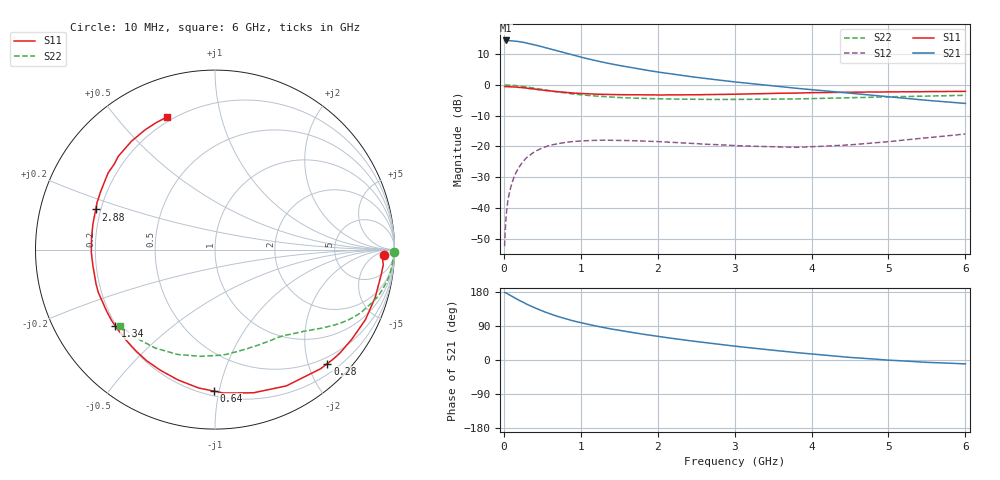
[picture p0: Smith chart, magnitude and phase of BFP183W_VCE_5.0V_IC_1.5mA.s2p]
! Infineon Technologies  Discrete & RF Semiconductors
! BFP183W
! VCE = 5.0 V,  IC =  1.5 mA
! Common Emitter S-Parameters:  Jan 2016
# GHz  S  MA  R  50
!  f  S11  S21  S12  S22
! GHz  MAG  ANG  MAG  ANG  MAG  ANG  MAG  ANG
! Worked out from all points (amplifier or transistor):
!   210 points, 10 MHz to 6 GHz, reference 50 ohm
!   highest |S21| = 14.4 dB at 30 MHz (marker M1)
!   |S21| within 3 dB of that: start of sweep to 641.9 MHz
!   unconditionally stable (mu >= 1): 2.538 GHz to end of sweep
!   at 185 MHz: K = 0.08, MSG = 20.7 dB, |S12| = -27.3 dB
!   at 1.52 GHz: K = 0.59, MSG = 12.1 dB, |S12| = -18.0 dB
!   at 6 GHz: K = 1.05, MAG = 3.6 dB, |S12| = -16.0 dB
!   S11 on the Smith chart (normalised r, x): 10 MHz: 26, -13; 280 MHz: 0.38, -2.34; 640 MHz: 0.23, -0.96; 1.34 GHz: 0.20, -0.33; 2.88 GHz: 0.18, +0.16; 6 GHz: 0.18, +0.69
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0.01  0.9403 -1.7  5.238 178.1  0.0024 88.2  0.9986 -0.7
0.02  0.9353 -3.2  5.258 177.9  0.0048 84.9  0.996 -1.4
0.03  0.9413 -5.2  5.274 176.8  0.0074 88.3  0.9953 -2.0
0.055  0.9354 -9.2  5.253 173.8  0.0137 85.2  0.9925 -3.6
0.115  0.9273 -19.1  5.183 167.1  0.0277 77.9  0.9841 -7.6
0.2  0.9115 -33.1  5.045 157.4  0.0464 70.7  0.9615 -12.9
0.28  0.8917 -45.4  4.839 149.3  0.0626 63.4  0.933 -17.5
0.4  0.8571 -62.4  4.496 137.8  0.0822 54.0  0.8846 -23.5
0.5  0.8259 -75.0  4.163 129.1  0.0949 47.4  0.8433 -27.5
0.64  0.788 -90.6  3.739 119.1  0.107 39.4  0.7894 -32.1
0.8  0.7547 -105.9  3.291 108.9  0.1164 32.0  0.7389 -36.3
0.9  0.7379 -114.3  3.058 103.3  0.1206 28.2  0.7126 -38.5
1.02  0.7242 -122.8  2.788 97.6  0.1232 24.2  0.6879 -41.0
1.2  0.707 -134.7  2.47 89.6  0.1259 19.2  0.6592 -44.4
1.34  0.6999 -142.4  2.266 84.0  0.1265 16.3  0.6419 -46.7
1.6  0.6909 -155.5  1.97 74.7  0.1249 12.1  0.6161 -50.9
2.02  0.6862 -172.5  1.61 61.8  0.1197 7.9  0.595 -57.9
2.88  0.7012 161.4  1.165 39.5  0.1053 7.3  0.5804 -73.6
3.1  0.7102 155.7  1.087 34.5  0.1022 8.7  0.5813 -78.0
4.1  0.7501 134.4  0.816 14.3  0.1002 22.0  0.6018 -100.1
5.1  0.7733 119.3  0.626 -1.4  0.1234 33.7  0.6434 -123.4
6  0.7855 109.8  0.5 -10.3  0.1593 36.5  0.6782 -141.3
